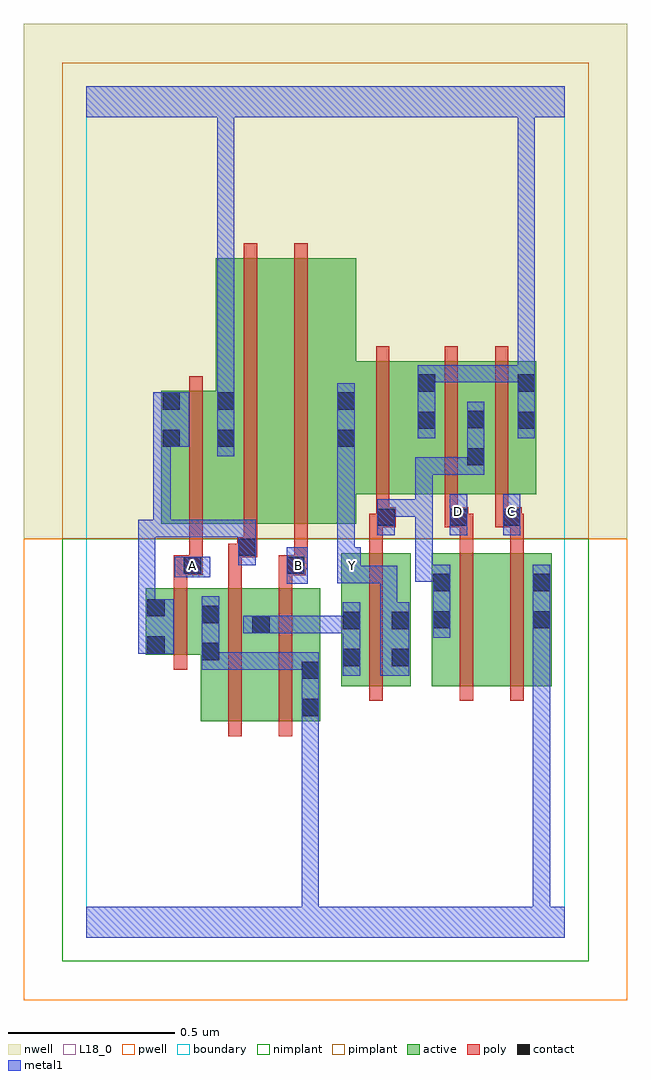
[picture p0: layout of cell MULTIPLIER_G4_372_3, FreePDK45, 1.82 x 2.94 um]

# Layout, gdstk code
import gdstk
lib = gdstk.Library(unit=1e-6, precision=1e-09)
def R(c, l, rs):  # rectangles x0, y0, x1, y1
    for r in rs: c.add(gdstk.rectangle(r[:2], r[2:], *l))
active = (1, 0)
pwell = (2, 0)
nwell = (3, 0)
nimplant = (4, 0)
pimplant = (5, 0)
poly = (9, 0)
contact = (10, 0)
metal1 = (11, 0)
L18_0 = (18, 0)
boundary = (235, 0)

multiplier_g4_372_3 = lib.new_cell('MULTIPLIER_G4_372_3')
R(multiplier_g4_372_3, active, [(0.344,0.65,0.404,1.05), (0.344,0.65,0.556,1.05), (0.496,0.65,0.556,1.05), (0.496,0.65,0.704,1.05), (0.644,0.65,0.704,1.05), (0.768,0.756,0.828,1.156), (0.768,0.756,0.976,1.156), (0.916,0.756,0.976,1.156), (1.04,0.756,1.1,1.156), (1.04,0.756,1.22,1.156), (1.22,0.756,1.4,1.156), (1.34,0.756,1.4,1.156), (0.18,0.85,0.404,1.05), (0.18,0.85,0.24,1.05), (0.226,1.244,0.286,1.644), (0.226,1.244,0.45,1.644), (0.39,1.244,0.57,2.044), (0.39,1.244,0.45,2.044), (0.57,1.244,0.812,2.044), (0.752,1.334,1.054,1.734), (0.752,1.334,0.812,2.044), (0.994,1.334,1.054,1.734), (0.994,1.334,1.202,1.734), (1.142,1.334,1.202,1.734), (1.142,1.334,1.354,1.734), (1.294,1.334,1.354,1.734)])
R(multiplier_g4_372_3, pwell, [(-0.188,-0.188,1.628,1.2)])
R(multiplier_g4_372_3, nwell, [(-0.188,1.2,1.628,2.748)])
R(multiplier_g4_372_3, nimplant, [(-0.072,-0.072,1.512,1.2)])
R(multiplier_g4_372_3, pimplant, [(-0.072,1.2,1.512,2.632)])
R(multiplier_g4_372_3, poly, [(0.428,0.606,0.468,1.094), (0.58,0.606,0.62,1.094), (0.852,0.712,0.892,1.2), (1.124,0.712,1.164,1.2), (1.276,0.712,1.316,1.2), (0.264,0.806,0.304,1.094), (0.264,1.054,0.304,1.13), (0.428,1.054,0.468,1.184), (0.58,1.054,0.62,1.13), (0.264,1.09,0.35,1.15), (0.58,1.09,0.66,1.15), (0.31,1.11,0.35,1.15), (0.31,1.11,0.35,1.15), (0.31,1.11,0.35,1.24), (0.62,1.11,0.66,1.15), (0.62,1.11,0.666,1.15), (0.626,1.11,0.666,1.24), (0.428,1.144,0.494,1.184), (0.454,1.144,0.494,1.184), (0.454,1.144,0.514,1.204), (0.852,1.16,0.892,1.274), (1.124,1.16,1.164,1.274), (1.276,1.16,1.316,1.274), (0.474,1.164,0.514,1.24), (0.31,1.2,0.35,1.688), (0.474,1.2,0.514,2.088), (0.626,1.2,0.666,2.088), (0.852,1.234,0.912,1.274), (0.872,1.234,0.912,1.274), (0.872,1.234,0.932,1.294), (1.078,1.234,1.15,1.294), (1.11,1.234,1.15,1.274), (1.11,1.234,1.164,1.274), (1.23,1.234,1.31,1.294), (1.27,1.234,1.31,1.274), (1.27,1.234,1.316,1.274), (0.872,1.254,0.912,1.33), (1.078,1.254,1.118,1.33), (1.23,1.254,1.27,1.33), (0.872,1.29,0.912,1.778), (1.078,1.29,1.118,1.778), (1.23,1.29,1.27,1.778)])
R(multiplier_g4_372_3, contact, [(0.648,0.666,0.7,0.718), (0.648,0.778,0.7,0.83), (0.772,0.816,0.824,0.868), (0.92,0.816,0.972,0.868), (0.348,0.834,0.4,0.886), (0.184,0.854,0.236,0.906), (0.5,0.916,0.552,0.968), (0.772,0.928,0.824,0.98), (0.92,0.928,0.972,0.98), (1.044,0.93,1.096,0.982), (1.344,0.93,1.396,0.982), (0.348,0.946,0.4,0.998), (0.184,0.966,0.236,1.018), (1.044,1.042,1.096,1.094), (1.344,1.042,1.396,1.094), (0.294,1.094,0.346,1.146), (0.604,1.094,0.656,1.146), (0.458,1.148,0.51,1.2), (0.876,1.238,0.928,1.29), (1.094,1.238,1.146,1.29), (1.254,1.238,1.306,1.29), (1.146,1.42,1.198,1.472), (0.23,1.476,0.282,1.528), (0.394,1.476,0.446,1.528), (0.756,1.476,0.808,1.528), (0.998,1.53,1.05,1.582), (1.298,1.53,1.35,1.582), (1.146,1.532,1.198,1.584), (0.23,1.588,0.282,1.64), (0.394,1.588,0.446,1.64), (0.756,1.588,0.808,1.64), (0.998,1.642,1.05,1.694), (1.298,1.642,1.35,1.694)])
R(multiplier_g4_372_3, metal1, [(0,0,1.44,0.092), (0.648,0.04,0.7,0.69), (1.344,0.04,1.396,0.092), (1.344,0.04,1.396,0.092), (1.344,0.04,1.396,0.092), (1.344,0.04,1.396,0.092), (1.344,0.04,1.396,0.092), (1.344,0.04,1.396,0.092), (1.344,0.04,1.396,0.954), (0.648,0.638,0.7,0.69), (0.648,0.638,0.7,0.69), (0.648,0.638,0.7,0.69), (0.648,0.638,0.7,0.69), (0.648,0.638,0.7,0.69), (0.648,0.638,0.7,0.69), (0.648,0.638,0.7,0.69), (0.648,0.638,0.7,0.69), (0.648,0.638,0.7,0.69), (0.648,0.638,0.7,0.69), (0.648,0.638,0.7,0.69), (0.648,0.638,0.7,0.69), (0.648,0.638,0.7,0.858), (0.772,0.788,0.824,1.008), (0.884,0.788,0.972,1.008), (0.348,0.806,0.4,1.026), (0.348,0.806,0.51,0.858), (0.458,0.806,0.51,0.858), (0.458,0.806,0.51,0.858), (0.458,0.806,0.51,0.858), (0.458,0.806,0.62,0.858), (0.568,0.806,0.62,0.858), (0.568,0.806,0.7,0.858), (0.156,0.854,0.264,1.018), (1.044,0.902,1.096,1.122), (1.344,0.902,1.396,0.954), (1.344,0.902,1.396,0.954), (1.344,0.902,1.396,0.954), (1.344,0.902,1.396,0.954), (1.344,0.902,1.396,0.954), (1.344,0.902,1.396,0.954), (1.344,0.902,1.396,1.122), (0.472,0.916,0.58,0.968), (0.528,0.916,0.62,0.968), (0.568,0.916,0.62,0.968), (0.568,0.916,0.716,0.968), (0.664,0.916,0.716,0.968), (0.664,0.916,0.824,0.968), (0.884,0.956,0.936,1.118), (0.156,0.966,0.208,1.256), (0.604,1.064,0.666,1.174), (0.756,1.066,0.826,1.174), (0.774,1.066,0.826,1.118), (0.774,1.066,0.826,1.118), (0.774,1.066,0.936,1.118), (0.884,1.066,0.936,1.118), (0.99,1.07,1.042,1.318), (0.99,1.07,1.096,1.122), (1.044,1.07,1.096,1.122), (0.266,1.084,0.374,1.146), (0.458,1.12,0.51,1.256), (0.756,1.122,0.808,1.5), (0.156,1.204,0.208,1.256), (0.156,1.204,0.208,1.256), (0.156,1.204,0.254,1.256), (0.202,1.204,0.4,1.256), (0.202,1.204,0.254,1.528), (0.348,1.204,0.4,1.256), (0.348,1.204,0.4,1.256), (0.348,1.204,0.4,1.256), (0.348,1.204,0.51,1.256), (0.876,1.21,0.928,1.318), (1.094,1.21,1.146,1.334), (1.254,1.21,1.306,1.334), (0.876,1.266,0.936,1.318), (0.884,1.266,0.936,1.318), (0.884,1.266,1.042,1.318), (0.99,1.266,1.042,1.318), (0.99,1.266,1.042,1.444), (0.99,1.392,1.042,1.444), (0.99,1.392,1.082,1.444), (1.03,1.392,1.082,1.444), (1.03,1.392,1.198,1.444), (1.146,1.392,1.198,1.612), (0.394,1.448,0.446,1.668), (0.756,1.448,0.808,1.5), (0.756,1.448,0.808,1.5), (0.756,1.448,0.808,1.668), (0.202,1.476,0.31,1.64), (0.998,1.502,1.05,1.722), (1.298,1.502,1.35,1.722), (0.394,1.616,0.446,1.668), (0.394,1.616,0.446,1.668), (0.394,1.616,0.446,2.52), (0.998,1.67,1.196,1.722), (1.144,1.67,1.196,1.722), (1.144,1.67,1.196,1.722), (1.144,1.67,1.196,1.722), (1.144,1.67,1.35,1.722), (1.298,1.67,1.35,1.722), (1.298,1.67,1.35,1.722), (1.298,1.67,1.35,1.722), (1.298,1.67,1.35,1.722), (1.298,1.67,1.35,2.52), (0,2.468,1.44,2.56), (0.394,2.468,0.446,2.52), (0.394,2.468,0.446,2.52), (0.394,2.468,0.446,2.52), (0.394,2.468,0.446,2.52), (0.394,2.468,0.446,2.52), (0.394,2.468,0.446,2.52), (1.298,2.468,1.35,2.52), (1.298,2.468,1.35,2.52), (1.298,2.468,1.35,2.52), (1.298,2.468,1.35,2.52), (1.298,2.468,1.35,2.52), (1.298,2.468,1.35,2.52), (1.298,2.468,1.35,2.52), (1.298,2.468,1.35,2.52), (1.298,2.468,1.35,2.52), (1.298,2.468,1.35,2.52), (1.298,2.468,1.35,2.52), (1.298,2.468,1.35,2.52), (1.298,2.468,1.35,2.52), (1.298,2.468,1.35,2.52)])
R(multiplier_g4_372_3, L18_0, [(0,0,1.44,0.092), (0.648,0.04,0.7,0.69), (1.344,0.04,1.396,0.092), (1.344,0.04,1.396,0.092), (1.344,0.04,1.396,0.092), (1.344,0.04,1.396,0.092), (1.344,0.04,1.396,0.092), (1.344,0.04,1.396,0.092), (1.344,0.04,1.396,0.954), (0.648,0.638,0.7,0.858), (0.648,0.638,0.7,0.69), (0.648,0.638,0.7,0.69), (0.648,0.638,0.7,0.69), (0.648,0.638,0.7,0.69), (0.648,0.638,0.7,0.69), (0.648,0.638,0.7,0.69), (0.648,0.638,0.7,0.69), (0.648,0.638,0.7,0.69), (0.648,0.638,0.7,0.69), (0.648,0.638,0.7,0.69), (0.648,0.638,0.7,0.69), (0.648,0.638,0.7,0.69), (0.884,0.788,0.972,1.008), (0.348,0.806,0.4,1.026), (0.348,0.806,0.51,0.858), (0.458,0.806,0.51,0.858), (0.458,0.806,0.51,0.858), (0.458,0.806,0.51,0.858), (0.458,0.806,0.62,0.858), (0.568,0.806,0.62,0.858), (0.568,0.806,0.7,0.858), (1.344,0.902,1.396,1.122), (1.344,0.902,1.396,0.954), (1.344,0.902,1.396,0.954), (1.344,0.902,1.396,0.954), (1.344,0.902,1.396,0.954), (1.344,0.902,1.396,0.954), (1.344,0.902,1.396,0.954), (0.884,0.956,0.936,1.118), (0.604,1.064,0.666,1.174), (0.756,1.066,0.826,1.174), (0.774,1.066,0.826,1.118), (0.774,1.066,0.826,1.118), (0.774,1.066,0.936,1.118), (0.884,1.066,0.936,1.118), (0.266,1.084,0.374,1.146), (0.294,1.094,0.346,1.146), (0.614,1.094,0.666,1.146), (0.774,1.094,0.826,1.146), (0.756,1.122,0.808,1.5), (1.094,1.21,1.146,1.334), (1.254,1.21,1.306,1.334), (1.094,1.254,1.146,1.306), (1.254,1.254,1.306,1.306), (0.394,1.448,0.446,1.668), (0.756,1.448,0.808,1.668), (0.756,1.448,0.808,1.5), (0.756,1.448,0.808,1.5), (0.998,1.502,1.05,1.722), (1.298,1.502,1.35,1.722), (0.394,1.616,0.446,1.668), (0.394,1.616,0.446,1.668), (0.394,1.616,0.446,2.52), (0.998,1.67,1.196,1.722), (1.144,1.67,1.196,1.722), (1.144,1.67,1.196,1.722), (1.144,1.67,1.196,1.722), (1.144,1.67,1.35,1.722), (1.298,1.67,1.35,1.722), (1.298,1.67,1.35,1.722), (1.298,1.67,1.35,1.722), (1.298,1.67,1.35,1.722), (1.298,1.67,1.35,2.52), (0,2.468,1.44,2.56), (0.394,2.468,0.446,2.52), (0.394,2.468,0.446,2.52), (0.394,2.468,0.446,2.52), (0.394,2.468,0.446,2.52), (0.394,2.468,0.446,2.52), (0.394,2.468,0.446,2.52), (1.298,2.468,1.35,2.52), (1.298,2.468,1.35,2.52), (1.298,2.468,1.35,2.52), (1.298,2.468,1.35,2.52), (1.298,2.468,1.35,2.52), (1.298,2.468,1.35,2.52), (1.298,2.468,1.35,2.52), (1.298,2.468,1.35,2.52), (1.298,2.468,1.35,2.52), (1.298,2.468,1.35,2.52), (1.298,2.468,1.35,2.52), (1.298,2.468,1.35,2.52), (1.298,2.468,1.35,2.52), (1.298,2.468,1.35,2.52)])
R(multiplier_g4_372_3, boundary, [(0,0,1.44,2.56)])
multiplier_g4_372_3.add(gdstk.Label('A', (0.32,1.12), layer=11, texttype=0))
multiplier_g4_372_3.add(gdstk.Label('B', (0.64,1.12), layer=11, texttype=0))
multiplier_g4_372_3.add(gdstk.Label('C', (1.28,1.28), layer=11, texttype=0))
multiplier_g4_372_3.add(gdstk.Label('D', (1.12,1.28), layer=11, texttype=0))
multiplier_g4_372_3.add(gdstk.Label('Y', (0.8,1.12), layer=11, texttype=0))

lib.write_gds('MULTIPLIER_G4_372_3.gds')
